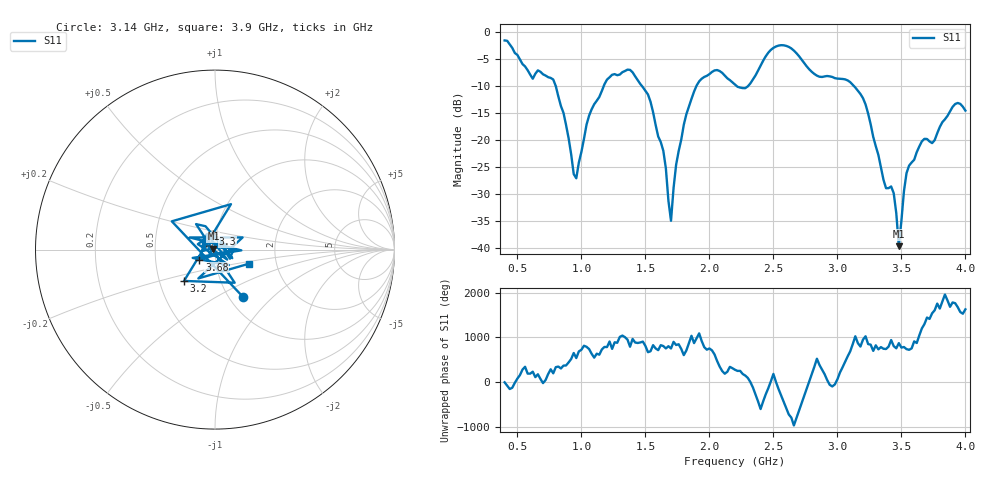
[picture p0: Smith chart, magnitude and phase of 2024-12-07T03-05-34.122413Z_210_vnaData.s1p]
!Created with skrf (http://scikit-rf.org).
# Hz S RI R 50.0
!freq ReS11 ImS11
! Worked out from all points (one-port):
!   181 points, 400 MHz to 4 GHz, reference 50 ohm
!   lowest |S11| = -39.6 dB at 3.48 GHz (marker M1), VSWR 1.02, Z = 49.1 + j0.56 ohm
!   |S11| at or under -10 dB: 800.3 MHz to 1.174 GHz (373.6 MHz wide, 37.9 % of centre); 1.474 GHz to 1.898 GHz (423.2 MHz wide, 25.1 % of centre); 3.131 GHz to end of sweep (the widest 3 of 4)
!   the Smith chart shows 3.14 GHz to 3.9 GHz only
!   S11 on the Smith chart (normalised r, x): 3.14 GHz: 1.16, -0.68; 3.2 GHz: 0.67, -0.25; 3.3 GHz: 0.96, +0.17; 3.68 GHz: 0.84, -0.09; 3.9 GHz: 1.44, -0.24
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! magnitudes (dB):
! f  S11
! 400 MHz  -1.5
! 620 MHz  -8.6
! 780 MHz  -8.7
! 860 MHz  -14.9
! 960 MHz  -27.0
! 1.08 GHz  -14.3
! 1.3 GHz  -7.8
! 1.54 GHz  -12.9
! 1.64 GHz  -22.0
! 1.7 GHz  -34.9
! 1.76 GHz  -22.0
! 1.92 GHz  -9.1
! 2.2 GHz  -9.7
! 2.3 GHz  -10.0
! 2.5 GHz  -2.9
! 2.66 GHz  -3.4
! 3.1 GHz  -9.2
! 3.14 GHz  -10.2
! 3.2 GHz  -12.2
! 3.3 GHz  -21.1
! 3.38 GHz  -28.9
! 3.44 GHz  -29.8
! 3.48 GHz  -39.6
! 3.52 GHz  -29.4
! 3.56 GHz  -24.7
! 3.68 GHz  -19.7
! 3.9 GHz  -13.8
! 4 GHz  -14.5
